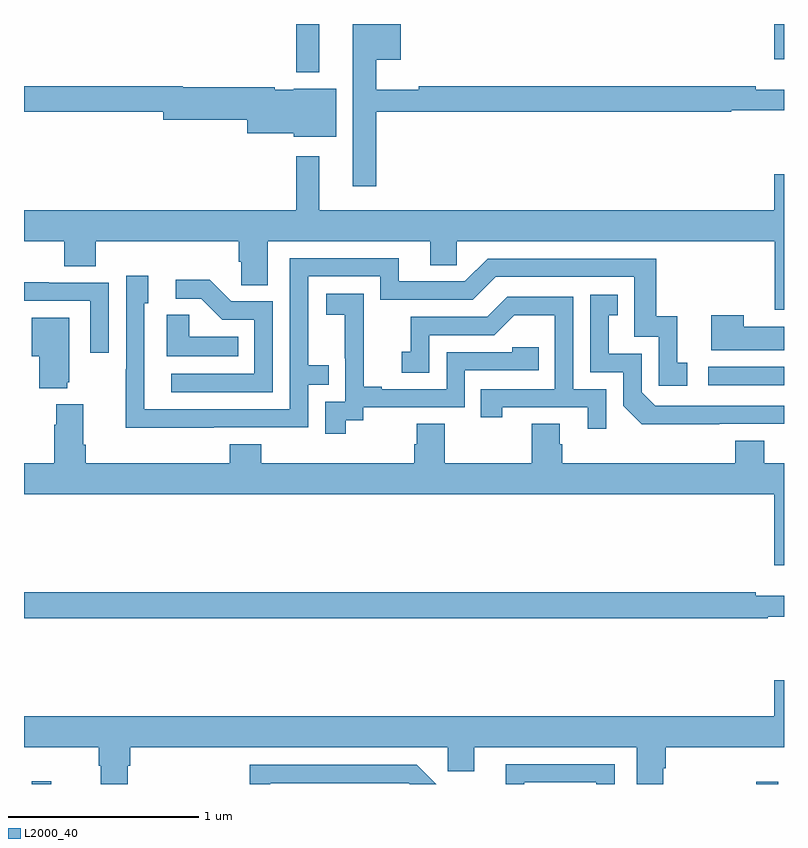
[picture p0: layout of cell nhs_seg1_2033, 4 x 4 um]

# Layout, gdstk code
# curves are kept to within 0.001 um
import gdstk
lib = gdstk.Library(unit=1e-6, precision=1e-09)
def R(c, l, rs):  # rectangles x0, y0, x1, y1
    for r in rs: c.add(gdstk.rectangle(r[:2], r[2:], *l))
def P(c, l, *ps):  # polygons
    for p in ps: c.add(gdstk.Polygon(p, *l))
L2000_40 = (2000, 40)

nhs_seg1_2033 = lib.new_cell('nhs_seg1_2033')
R(nhs_seg1_2033, L2000_40, [(221.042,558.199,221.144,558.214), (224.855,558.199,224.97,558.211), (224.601,560.298,225,560.394), (222.432,561.944,222.553,562.199), (224.948,562.014,225,562.199)])
P(nhs_seg1_2033, L2000_40, [(222.853,561.736),(224.722,561.736),(224.722,561.744),(225,561.744),(225,561.853),(224.852,561.853),(224.852,561.872),(223.078,561.872),(223.078,561.853),(222.853,561.853),(222.853,562.01),(222.982,562.01),(222.982,562.199),(222.731,562.199),(222.731,561.345),(222.853,561.345)],
  [(222.643,561.859),(222.42,561.859),(222.42,561.853),(222.32,561.853),(222.32,561.866),(221.836,561.866),(221.836,561.872),(221,561.872),(221,561.736),(221.732,561.736),(221.732,561.694),(222.176,561.694),(222.176,561.623),(222.42,561.623),(222.42,561.605),(222.643,561.605)],
  [(225,561.409),(224.948,561.409),(224.948,561.22),(222.553,561.22),(222.553,561.502),(222.432,561.502),(222.432,561.22),(221,561.22),(221,561.056),(221.213,561.056),(221.213,560.923),(221.378,560.923),(221.378,561.056),(222.131,561.056),(222.131,560.947),(222.144,560.947),(222.144,560.824),(222.283,560.824),(222.283,561.056),(223.139,561.056),(223.139,560.929),(223.278,560.929),(223.278,561.056),(224.951,561.056),(224.951,560.694),(225,560.694)],
  [(221.999,560.076),(222.495,560.076),(222.495,560.301),(222.605,560.301),(222.605,560.402),(222.495,560.402),(222.495,560.871),(222.876,560.871),(222.876,560.748),(223.362,560.748),(223.482,560.868),(224.211,560.868),(224.211,560.553),(224.34,560.553),(224.34,560.295),(224.491,560.295),(224.491,560.415),(224.438,560.415),(224.438,560.662),(224.327,560.662),(224.327,560.964),(223.44,560.964),(223.32,560.844),(222.973,560.844),(222.973,560.967),(222.399,560.967),(222.399,560.172),(221.634,560.172),(221.634,560.73),(221.653,560.73),(221.653,560.875),(221.538,560.875),(221.538,560.381),(221.536,560.381),(221.536,560.075)],
  [(222.309,560.739),(222.09,560.739),(221.977,560.852),(221.799,560.852),(221.799,560.754),(221.933,560.754),(222.044,560.643),(222.213,560.643),(222.213,560.358),(221.775,560.358),(221.775,560.262),(222.309,560.262)],
  [(221.445,560.838),(221.129,560.838),(221.129,560.84),(221,560.84),(221,560.742),(221.349,560.742),(221.349,560.469),(221.445,560.469)],
  [(222.694,560.113),(222.786,560.113),(222.786,560.181),(223.32,560.181),(223.32,560.376),(223.709,560.376),(223.709,560.499),(223.569,560.499),(223.569,560.472),(223.224,560.472),(223.224,560.277),(222.883,560.277),(222.883,560.29),(222.788,560.29),(222.788,560.573),(222.789,560.573),(222.789,560.779),(222.591,560.779),(222.591,560.669),(222.689,560.669),(222.689,560.441),(222.69,560.441),(222.69,560.211),(222.585,560.211),(222.585,560.043),(222.694,560.043)],
  [(224.66,560.094),(225,560.094),(225,560.19),(224.322,560.19),(224.25,560.262),(224.25,560.463),(224.077,560.463),(224.077,560.667),(224.126,560.667),(224.126,560.773),(223.98,560.773),(223.98,560.367),(224.154,560.367),(224.154,560.19),(224.252,560.093)],
  [(224.064,560.277),(223.89,560.277),(223.89,560.763),(223.544,560.763),(223.439,560.658),(223.036,560.658),(223.036,560.473),(222.987,560.473),(222.987,560.364),(223.134,560.364),(223.134,560.562),(223.476,560.562),(223.58,560.666),(223.794,560.666),(223.794,560.277),(223.405,560.277),(223.405,560.13),(223.516,560.13),(223.516,560.181),(223.967,560.181),(223.967,560.07),(224.064,560.07)],
  [(222.128,560.554),(221.871,560.554),(221.871,560.669),(221.75,560.669),(221.75,560.45),(222.128,560.45)],
  [(225,560.605),(224.789,560.605),(224.789,560.665),(224.618,560.665),(224.618,560.483),(225,560.483)],
  [(221.228,560.313),(221.239,560.313),(221.239,560.653),(221.042,560.653),(221.042,560.45),(221.081,560.45),(221.081,560.282),(221.228,560.282)],
  [(225,559.888),(224.896,559.888),(224.896,560.005),(224.744,560.005),(224.744,559.888),(223.832,559.888),(223.832,559.986),(223.819,559.986),(223.819,560.096),(223.672,560.096),(223.672,559.888),(223.215,559.888),(223.215,560.096),(223.067,560.096),(223.067,559.986),(223.055,559.986),(223.055,559.888),(222.248,559.888),(222.248,559.987),(222.083,559.987),(222.083,559.888),(221.324,559.888),(221.324,559.984),(221.311,559.984),(221.311,560.197),(221.171,560.197),(221.171,560.09),(221.159,560.09),(221.159,559.888),(221,559.888),(221,559.724),(224.948,559.724),(224.948,559.35),(225,559.35)],
  [(224.914,559.08),(225,559.08),(225,559.189),(224.852,559.189),(224.852,559.208),(221,559.208),(221,559.072),(224.914,559.072)],
  [(221,558.392),(221.393,558.392),(221.393,558.296),(221.405,558.296),(221.405,558.199),(221.545,558.199),(221.545,558.296),(221.558,558.296),(221.558,558.392),(223.23,558.392),(223.23,558.265),(223.369,558.265),(223.369,558.392),(224.225,558.392),(224.225,558.199),(224.364,558.199),(224.364,558.283),(224.378,558.283),(224.378,558.392),(225,558.392),(225,558.745),(224.948,558.745),(224.948,558.556),(221,558.556)],
  [(223.632,558.207),(224.013,558.207),(224.013,558.199),(224.109,558.199),(224.109,558.303),(223.535,558.303),(223.535,558.199),(223.632,558.199)],
  [(222.297,558.204),(223.026,558.204),(223.031,558.199),(223.169,558.199),(223.068,558.3),(222.189,558.3),(222.189,558.199),(222.297,558.199)])

lib.write_gds('nhs_seg1_2033.gds')
